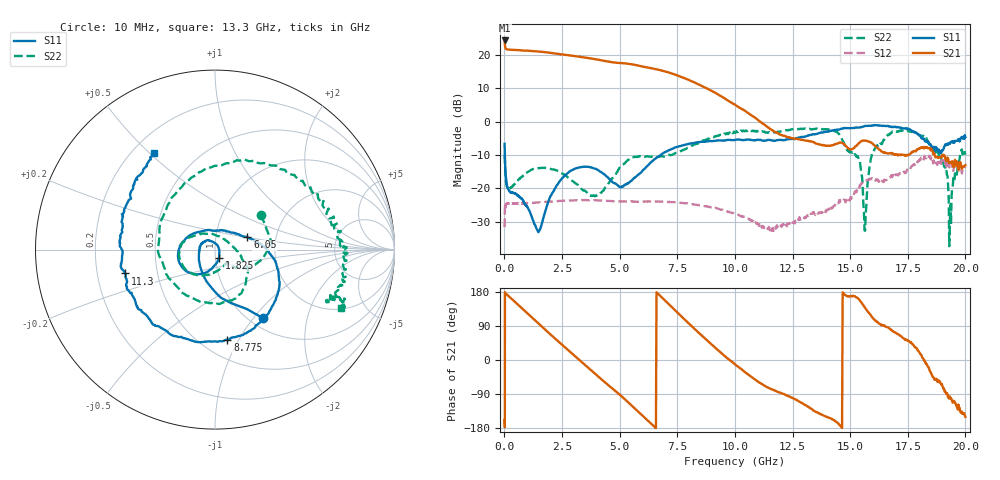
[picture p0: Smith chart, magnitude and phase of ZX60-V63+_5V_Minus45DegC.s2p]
!Mini-Circuits Laboratory
!S-Parameters
!Model: ZX60-V63+
!Run / Lot / Date Code: E114204 /  / NA
!Fixture:
!Network Analyzer: PNA-X N5242A - 423 4 ports;  Serial number: 71932
!Date: 10/26/2011 at 11:41:47 AM
!S/N: Unit# 1 (Unit5)
!Tested with:
# Hz  S  dB  R  50
!Frequency  S11 dB  S11 Deg  S21 dB  S21 Deg  S12 dB  S12 Deg  S22 dB  S22 Deg
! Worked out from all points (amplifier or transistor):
!   959 points, 10 MHz to 20 GHz, reference 50 ohm
!   highest |S21| = 24.4 dB at 10 MHz (marker M1)
!   |S21| within 3 dB of that: start of sweep to 764.1 MHz
!   unconditionally stable (mu >= 1): 46.85 MHz to end of sweep
!   at 805 MHz: K = 1.05, MAG = 21.6 dB, |S12| = -24.5 dB
!   at 8.025 GHz: K = 1.50, MAG = 14.4 dB, |S12| = -24.6 dB
!   at 20 GHz: K = 6.31, MAG = -10.8 dB, |S12| = -13.3 dB
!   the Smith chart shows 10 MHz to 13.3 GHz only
!   S11 on the Smith chart (normalised r, x): 10 MHz: 1.15, -1.11; 1.825 GHz: 1.04, -0.10; 6.05 GHz: 1.42, +0.20; 8.775 GHz: 0.66, -0.90; 11.3 GHz: 0.32, -0.12; 13.3 GHz: 0.29, +0.52
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1e7  -6.66 -55.1  24.39 -158.7  -31.63 70.6  -9.84 37.0
3.5e7  -13.33 -94.6  22.43 177.0  -25.16 21.1  -14.23 -32.9
5.5e7  -16.00 -113.4  21.99 175.2  -24.87 13.0  -16.89 -40.9
7.35e8  -23.03 136.9  21.42 137.7  -24.54 -16.5  -16.61 -107.5
1.275e9  -30.09 76.1  21.18 107.8  -24.34 -29.6  -14.15 -144.3
1.825e9  -25.65 -65.4  20.82 77.0  -24.04 -44.4  -13.87 -172.6
2.625e9  -16.17 -119.7  20.11 33.6  -23.70 -68.4  -15.97 154.7
3.35e9  -13.60 -154.7  19.39 -5.1  -23.52 -92.8  -20.18 116.8
4.05e9  -14.45 169.7  18.65 -42.6  -23.60 -118.1  -21.97 36.7
4.675e9  -17.98 125.7  17.86 -74.7  -23.84 -141.1  -17.09 -10.9
5.325e9  -18.62 64.9  17.44 -109.1  -23.96 -165.7  -11.70 -49.7
6.05e9  -14.30 20.8  16.48 -150.0  -24.00 164.8  -10.44 -95.6
6.675e9  -10.47 -2.4  15.60 174.4  -23.90 136.3  -10.57 -140.7
7.65e9  -7.28 -37.6  13.54 116.8  -24.36 89.2  -8.81 136.4
8.775e9  -5.90 -82.1  10.02 53.1  -25.44 34.7  -5.39 64.5
1.0025e10  -5.50 -126.7  5.00 -12.3  -27.61 -22.5  -3.28 5.5
1.13e10  -5.71 -165.1  -0.97 -68.5  -31.77 -63.2  -3.09 -22.6
1.33e10  -3.93 122.1  -5.94 -128.5  -27.57 -100.9  -2.26 -24.9
1.335e10  -3.91 120.6  -6.00 -130.1  -27.52 -99.6  -2.31 -25.6
1.565e10  -1.29 74.6  -5.69 137.4  -17.74 -173.3  -32.73 117.0
1.6675e10  -1.40 61.5  -9.53 85.0  -16.91 137.1  -4.00 54.5
2e10  -4.61 160.3  -13.01 -150.0  -13.34 -147.5  -9.88 74.5
